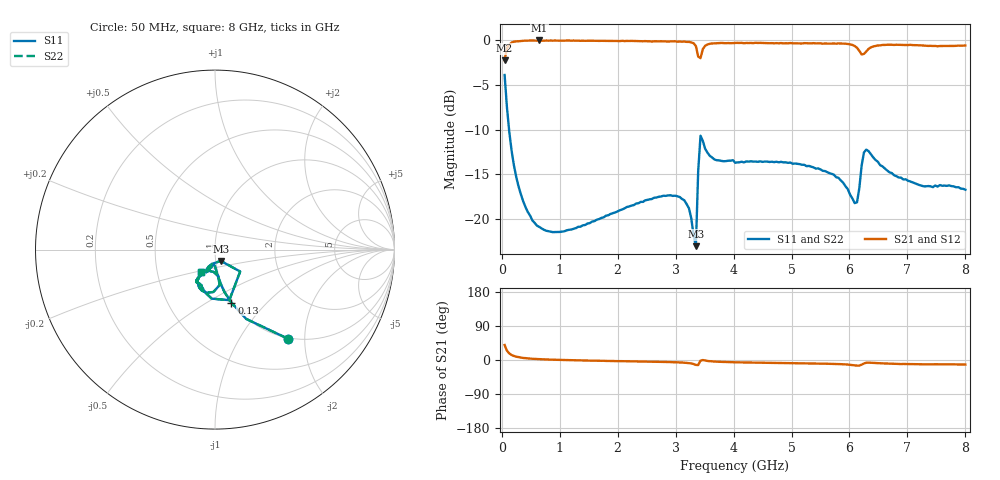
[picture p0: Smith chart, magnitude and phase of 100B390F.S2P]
!  American Technical Ceramics  Date:  3/13/98
!  One Norden Lane
!  Huntington Station,  NY.  11746-2102
!  Tel:  (516) 547-5700  Fax:  (516) 547-5748
!  Part Number  100b390f
!  Description: Porcelain, High Q, Low ESR
!  Application: Bypass, Coupling, Timing, Feedback
!  Tuning, Impedance Match, Blocking
# GHZ S DB R 50
! Freq  |S11|  S11 Ph  |S21|  S21 Ph  |S12|  S12 Ph  |S22|  S22 Ph
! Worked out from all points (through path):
!   201 points, 50 MHz to 8 GHz, reference 50 ohm
!   highest |S21| = -0.02 dB at 650 MHz (marker M1); lowest = -2.2 dB at 50 MHz (marker M2)
!   group delay of S21, straight-line fit = 6.26 ps
!   lowest |S11| = -23.0 dB at 3.35 GHz (marker M3), VSWR 1.15, Z = 52.9 - j6.68 ohm
!   |S11| at or under -10 dB: 127.1 MHz to end of sweep
!   |S22| runs from -23.0 to -3.9 dB; largest |S21 - S12| = 0
!   S11 on the Smith chart (normalised r, x): 50 MHz: 0.98, -1.65; 130 MHz: 0.99, -0.65; 8 GHz: 0.83, -0.21
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0.05  -3.88 -50.8  -2.24 39.5  -2.24 39.5  -3.88 -50.8
0.09  -7.47 -65.8  -0.84 24.5  -0.84 24.5  -7.47 -65.8
0.13  -10.20 -72.8  -0.51 17.4  -0.51 17.4  -10.20 -72.8
0.33  -17.20 -84.9  -0.08 6.5  -0.08 6.5  -17.20 -84.9
0.65  -20.86 -90.9  -0.02 2.2  -0.02 2.2  -20.86 -90.9
1.4  -20.68 -99.7  -0.05 -1.1  -0.05 -1.1  -20.68 -99.7
2.71  -17.49 -110.5  -0.13 -5.0  -0.13 -5.0  -17.49 -110.5
3.15  -17.88 -113.0  -0.14 -7.1  -0.14 -7.1  -17.88 -113.0
3.23  -18.77 -112.4  -0.18 -8.2  -0.18 -8.2  -18.77 -112.4
3.35  -23.01 -62.7  -0.64 -13.0  -0.64 -13.0  -23.01 -62.7
3.39  -14.61 -41.1  -1.82 -13.3  -1.82 -13.3  -14.61 -41.1
3.43  -10.67 -74.1  -2.00 -1.6  -2.00 -1.6  -10.67 -74.1
3.55  -12.56 -105.3  -0.47 -2.6  -0.47 -2.6  -12.56 -105.3
4.03  -13.69 -115.1  -0.30 -6.0  -0.30 -6.0  -13.69 -115.1
5.38  -14.21 -121.2  -0.32 -9.3  -0.32 -9.3  -14.21 -121.2
5.81  -15.37 -120.6  -0.35 -10.7  -0.35 -10.7  -15.37 -120.6
6.09  -18.20 -105.8  -0.64 -14.0  -0.64 -14.0  -18.20 -105.8
6.13  -18.10 -94.1  -0.84 -14.8  -0.84 -14.8  -18.10 -94.1
6.21  -14.00 -82.7  -1.59 -12.3  -1.59 -12.3  -14.00 -82.7
6.29  -12.22 -101.2  -1.25 -7.1  -1.25 -7.1  -12.22 -101.2
6.69  -14.75 -119.9  -0.50 -9.5  -0.50 -9.5  -14.75 -119.9
8  -16.70 -121.9  -0.58 -12.0  -0.58 -12.0  -16.70 -121.9
